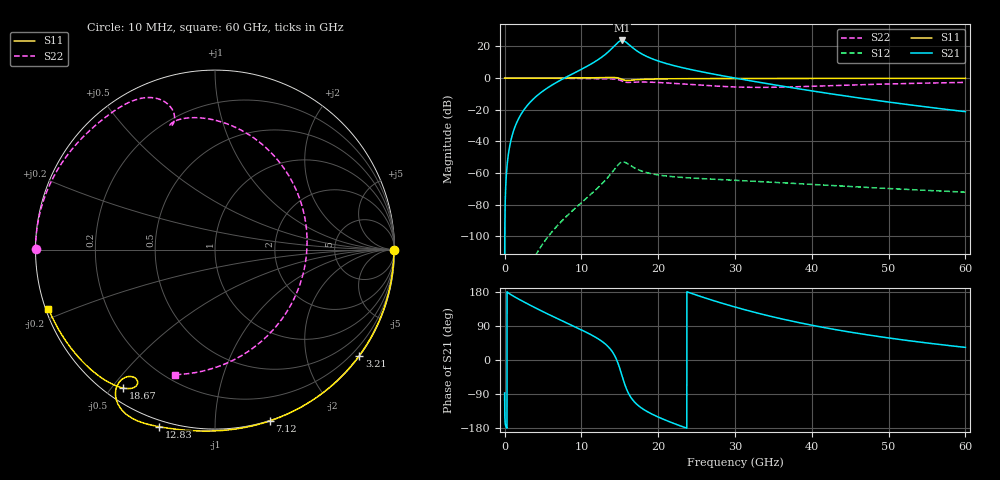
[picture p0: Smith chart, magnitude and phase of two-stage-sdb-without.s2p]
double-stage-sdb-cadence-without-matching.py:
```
from skrf import Network
import matplotlib.pyplot as plt
import tikzplotlib
two_stage = Network('data/two-stage-sdb-without.s2p')
two_stage.frequency.unit = 'ghz'
fig, ax = plt.subplots(figsize=(8, 6))
two_stage.plot_s_db(0, 1, linewidth=2, color="red", label="S22")
ax.grid(True)
#ax.set_xlim(0e9, 40e9)
# ax.set_ylim(-10, 30)
ax.tick_params(axis='both', labelsize=12)
ax.set_xlabel("Frequency (GHz)", fontsize=15)
ax.set_ylabel("Magnitude (dB)", fontsize=15)
#ax.set_xlim(10e9, 40e9)
#ax.set_ylim(-80, -50)
#plt.legend().remove()
#tikzplotlib.clean_figure()
#tikzplotlib.save("two_stage_sdb_cadence_s11.tex")
#plt.savefig('two_stage_s22.png', dpi=300)
plt.show()
```
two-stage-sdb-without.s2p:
! Touchstone Ver. 1.0
! Fri May  5 20:33:45 2023
! Number of ports is 2
# Hz	S	DB	R	50.000000
! SCATTERING PARAMETERS  :
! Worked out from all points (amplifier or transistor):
!   6000 points, 10 MHz to 60 GHz, reference 50 ohm
!   highest |S21| = 23.8 dB at 15.3 GHz (marker M1)
!   |S21| within 3 dB of that: 14.39 GHz to 16.29 GHz (1.9 GHz wide, 12.4 % of centre)
!   unconditionally stable (mu >= 1): start of sweep to 5.415 GHz; 14.94 GHz to end of sweep
!   at 10.01 GHz: K = -3.70, MSG = 42.1 dB, |S12| = -78.7 dB
!   at 30.01 GHz: K = 36.97, MAG = 13.6 dB, |S12| = -64.6 dB
!   at 60 GHz: K = 315.04, MAG = -2.6 dB, |S12| = -72.1 dB
!   S11 on the Smith chart (normalised r, x): 10 MHz: open; 3.21 GHz: 0.01, -3.05; 7.12 GHz: -0.00, -1.37; 12.83 GHz: -0.03, -0.73; 18.67 GHz: 0.05, -0.54; 60 GHz: 0.01, -0.17
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1e7  -0.01 -0.2  -122.44 -86.9  -331.61 120.2  -0.00 180.0
3.21e9  -0.02 -36.3  -15.91 146.0  -120.03 -28.8  -0.03 168.7
7.12e9  0.02 -72.2  -1.75 107.0  -92.00 -61.7  -0.13 154.2
1.283e10  0.30 -107.6  13.87 47.0  -66.05 -112.9  -0.39 127.9
1.429e10  0.37 -117.8  20.28 13.3  -57.74 -144.3  -0.54 116.4
1.53e10  -0.80 -125.8  23.78 -41.7  -53.02 162.2  -1.90 106.8
1.578e10  -1.45 -123.3  22.84 -71.3  -53.42 133.3  -2.63 108.4
1.651e10  -1.31 -120.1  19.87 -100.5  -55.59 105.3  -2.65 110.0
1.867e10  -0.67 -123.5  13.33 -137.2  -59.93 71.9  -2.54 100.0
3.001e10  -0.27 -142.8  0.02 139.8  -64.57 5.7  -5.61 14.6
6e10  -0.13 -160.5  -21.21 33.3  -72.07 -61.3  -2.72 -107.7
